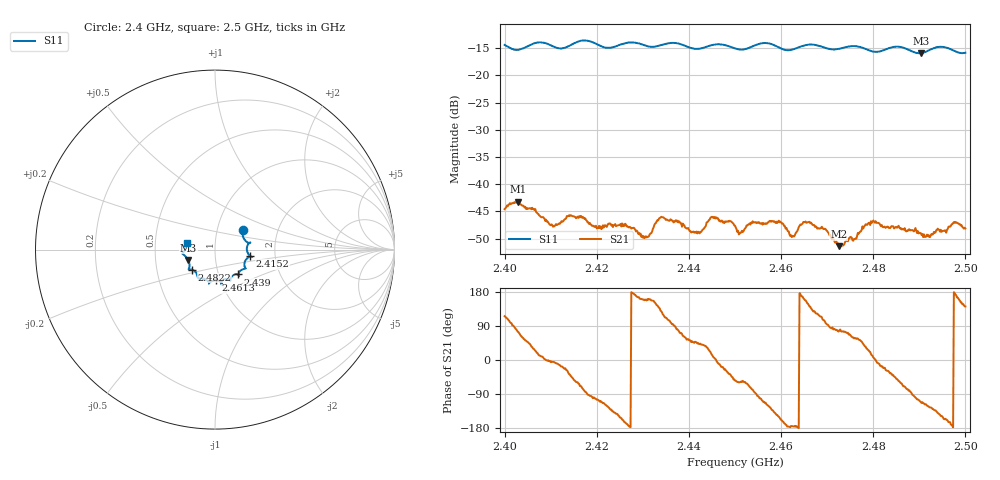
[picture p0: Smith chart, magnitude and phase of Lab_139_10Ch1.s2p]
# Hz S RI R 50
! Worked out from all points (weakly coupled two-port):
!   601 points, 2.4 GHz to 2.5 GHz, reference 50 ohm
!   highest |S21| = -43.23 dB at 2.4028 GHz (marker M1); lowest = -51.4 dB at 2.4725 GHz (marker M2)
!   lowest |S11| = -15.9 dB at 2.4903 GHz (marker M3), VSWR 1.38, Z = 36.8 - j4.42 ohm
!   |S11| at or under -10 dB: start of sweep to end of sweep
!   S12 and S22 are empty: the file has one direction only
!   S11 on the Smith chart (normalised r, x): 2.4 GHz: 1.33, +0.31; 2.4152 GHz: 1.48, -0.11; 2.439 GHz: 1.24, -0.36; 2.4613 GHz: 0.96, -0.34; 2.4822 GHz: 0.76, -0.17; 2.5 GHz: 0.73, +0.05
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2.4e9  0.1556 0.1107  -0.00255 0.00532  0 0  0 0
2.402833e9  0.1596 0.0637  0.00178 0.00666  0 0  0 0
2.410333e9  0.1846 0.0292  0.00419 -0.000382  0 0  0 0
2.415167e9  0.1952 -0.0358  0.00297 -0.00404  0 0  0 0
2.416667e9  0.2048 -0.0418  0.00167 -0.00478  0 0  0 0
2.4305e9  0.1529 -0.1104  -0.00303 0.00113  0 0  0 0
2.433333e9  0.1321 -0.1322  -0.0036 0.00293  0 0  0 0
2.439e9  0.1281 -0.1386  0.00201 0.00367  0 0  0 0
2.442333e9  0.0958 -0.1481  0.00262 0.00236  0 0  0 0
2.445167e9  0.0844 -0.1715  0.00485 0.000888  0 0  0 0
2.45e9  0.0687 -0.1636  0.00244 -0.00336  0 0  0 0
2.458e9  0.0387 -0.1902  -0.00306 -0.00342  0 0  0 0
2.461333e9  0.00719 -0.1706  -0.00378 -0.000289  0 0  0 0
2.4625e9  -0.00998 -0.173  -0.00334 -0.000286  0 0  0 0
2.466667e9  -0.0334 -0.1897  -0.00298 0.00312  0 0  0 0
2.4725e9  -0.0715 -0.1603  0.000685 0.0026  0 0  0 0
2.4795e9  -0.1033 -0.1326  0.00439 0.00125  0 0  0 0
2.482167e9  -0.1282 -0.112  0.00375 -0.00144  0 0  0 0
2.483333e9  -0.1395 -0.1104  0.00344 -0.00196  0 0  0 0
2.490333e9  -0.1492 -0.0585  -0.00129 -0.0033  0 0  0 0
2.497833e9  -0.1665 -0.00207  -0.00446 0.000561  0 0  0 0
2.5e9  -0.1583 0.0341  -0.00306 0.00245  0 0  0 0
